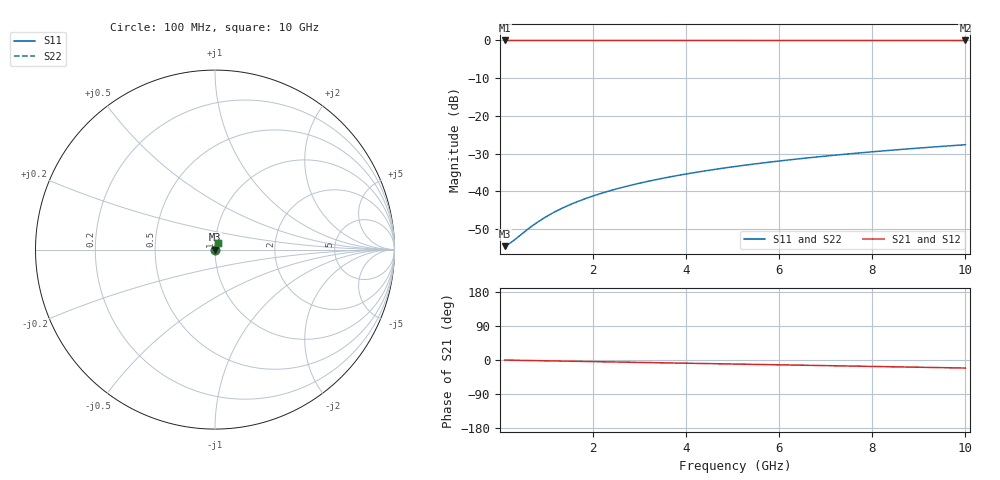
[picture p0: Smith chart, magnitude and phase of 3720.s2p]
# Hz S RI R 50.00
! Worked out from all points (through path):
!   100 points, 100 MHz to 10 GHz, reference 50 ohm
!   highest |S21| = -0.02 dB at 100 MHz (marker M1); lowest = 0.0 dB at 10 GHz (marker M2)
!   group delay of S21, straight-line fit = 5.9 ps
!   lowest |S11| = -54.6 dB at 100 MHz (marker M3), VSWR 1.00, Z = 50.2 + j0.0417 ohm
!   |S11| at or under -10 dB: start of sweep to end of sweep
!   |S22| runs from -54.6 to -27.7 dB; largest |S21 - S12| = 0
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1e8  0.00182 0.000416  0.9982 -0.00368  0.9982 -0.00368  0.00182 0.000416
2e8  0.00183 0.000832  0.9981 -0.00736  0.9981 -0.00736  0.00183 0.000832
3e8  0.00185 0.00125  0.9981 -0.011  0.9981 -0.011  0.00185 0.00125
6e8  0.00191 0.00249  0.9979 -0.0221  0.9979 -0.0221  0.00191 0.00249
7e8  0.00193 0.00291  0.9978 -0.0258  0.9978 -0.0258  0.00193 0.00291
8e8  0.00196 0.00332  0.9977 -0.0294  0.9977 -0.0294  0.00196 0.00332
1e9  0.00202 0.00415  0.9974 -0.0368  0.9974 -0.0368  0.00202 0.00415
1.2e9  0.00209 0.00498  0.9971 -0.0442  0.9971 -0.0442  0.00209 0.00498
1.4e9  0.00217 0.00581  0.9967 -0.0515  0.9967 -0.0515  0.00217 0.00581
1.6e9  0.00227 0.00663  0.9963 -0.0589  0.9963 -0.0589  0.00227 0.00663
1.8e9  0.00237 0.00745  0.9958 -0.0662  0.9958 -0.0662  0.00237 0.00745
2.1e9  0.00256 0.00868  0.995 -0.0773  0.995 -0.0773  0.00256 0.00868
2.5e9  0.00284 0.0103  0.9937 -0.092  0.9937 -0.092  0.00284 0.0103
2.9e9  0.00318 0.0119  0.9922 -0.1066  0.9922 -0.1066  0.00318 0.0119
3.4e9  0.00366 0.014  0.99 -0.1249  0.99 -0.1249  0.00366 0.014
4.2e9  0.00459 0.0171  0.9858 -0.1542  0.9858 -0.1542  0.00459 0.0171
5.1e9  0.00586 0.0206  0.98 -0.187  0.98 -0.187  0.00586 0.0206
5.9e9  0.00718 0.0237  0.974 -0.2159  0.974 -0.2159  0.00718 0.0237
6.7e9  0.00869 0.0266  0.967 -0.2448  0.967 -0.2448  0.00869 0.0266
7.5e9  0.0104 0.0295  0.9592 -0.2734  0.9592 -0.2734  0.0104 0.0295
8.4e9  0.0125 0.0326  0.9493 -0.3054  0.9493 -0.3054  0.0125 0.0326
1e10  0.0167 0.0378  0.9291 -0.3614  0.9291 -0.3614  0.0167 0.0378
